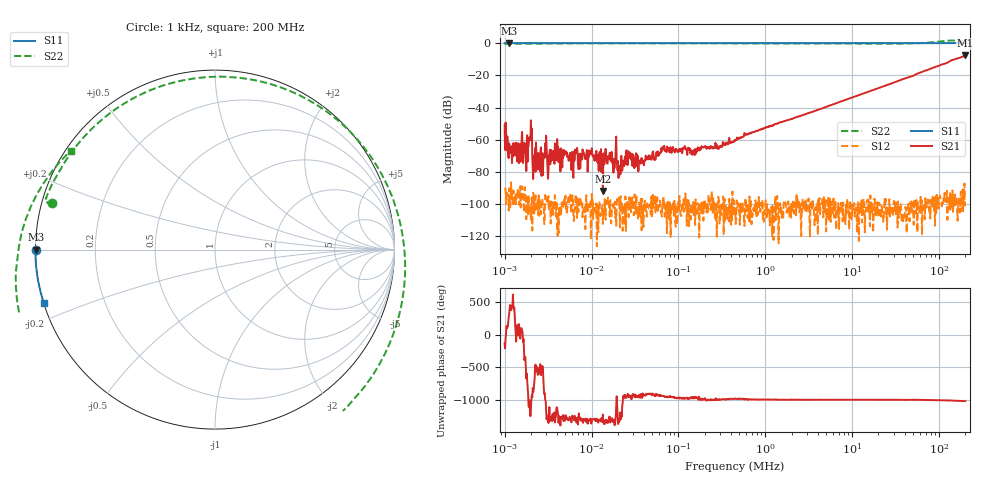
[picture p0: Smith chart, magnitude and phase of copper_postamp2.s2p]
! ListType=Log
# MHZ S RI R 50
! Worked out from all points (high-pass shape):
!   1000 points, 1 kHz to 200 MHz, reference 50 ohm
!   highest |S21| = -7.62 dB at 200 MHz (marker M1); lowest = -91.7 dB at 13.5 kHz (marker M2)
!   |S21| within 3 dB of the highest: 139.2 MHz to end of sweep
!   lowest |S11| = 0.0 dB at 1.116 kHz (marker M3)
!   |S11| at or under -10 dB: nowhere
!   |S22| runs from -0.5 to 1.7 dB; largest |S21 - S12| = 0.42
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0.001  -0.9998 0.000414  -0.00203 -0.00198  -1.15e-05 -2.99e-05  -0.9089 0.26
0.0011162  -0.9984 -0.000349  2.8e-05 -0.000266  -5.6e-06 3e-06  -0.9121 0.2584
0.0017329  -0.9994 -0.000238  0.000367 0.00014  -3.1e-06 1.34e-05  -0.9221 0.2574
0.0019344  -0.9997 9.23e-05  0.00022 0.000916  -5e-06 -6.4e-06  -0.9247 0.2577
0.0022126  -1 -0.00022  0.000143 0.000133  -5.4e-06 -1.44e-05  -0.9281 0.259
0.0033115  -0.9997 -0.000115  -0.000476 8.32e-05  8.4e-06 -6e-07  -0.9357 0.264
0.0040265  -0.9997 0.0002  0.000758 -0.000728  0 1.4e-06  -0.9383 0.2668
0.0076941  -0.9999 4e-06  -0.000193 0.00026  -2.1e-06 8.4e-06  -0.9422 0.2759
0.0134974  -0.9999 -0.000133  -2.01e-05 -1.63e-05  1.4e-06 -2e-06  -0.9426 0.2809
0.0212121  -0.9998 -3.24e-05  -0.00013 8.26e-05  1.3e-06 1.4e-06  -0.9423 0.2839
0.0264301  -0.9997 -9.9e-06  -0.000387 0.000216  5.1e-06 -1.14e-05  -0.9421 0.2849
0.0367595  -0.9998 -9.52e-05  -0.00018 2.23e-05  -2.9e-06 -1.34e-05  -0.9414 0.2864
0.0584804  -0.9998 -0.000101  -0.0003 0.000111  1.1e-06 -7.5e-06  -0.9406 0.2882
0.4499541  -1 -0.000815  -0.000219 0.000907  1.8e-06 7.1e-06  -0.9349 0.303
3.419952  -1 -0.0055  0.000564 0.00722  -1.8e-06 -7.2e-06  -0.8867 0.4028
26.31347  -0.9998 -0.0406  0.00404 0.0522  3.6e-06 -3.5e-06  -0.3118 0.9064
50.9003  -0.9981 -0.0775  0.00778 0.0985  -1e-07 -2.3e-06  0.4925 0.8486
81.97236  -0.9935 -0.1242  0.026 0.1637  5.3e-06 -7.1e-06  1.057 -0.0223
103.3922  -0.9887 -0.156  0.0409 0.2049  -9.6e-06 -1.12e-05  0.8402 -0.7545
128.8255  -0.9814 -0.1932  0.0571 0.2545  -1.25e-05 -1.01e-05  0.0311 -1.195
164.4859  -0.9693 -0.245  0.1197 0.3163  4.6e-06 -3.3e-06  -1.028 -0.5582
200  -0.9542 -0.2977  0.1757 0.3772  -1.29e-05 -6.6e-06  -0.8026 0.5506
